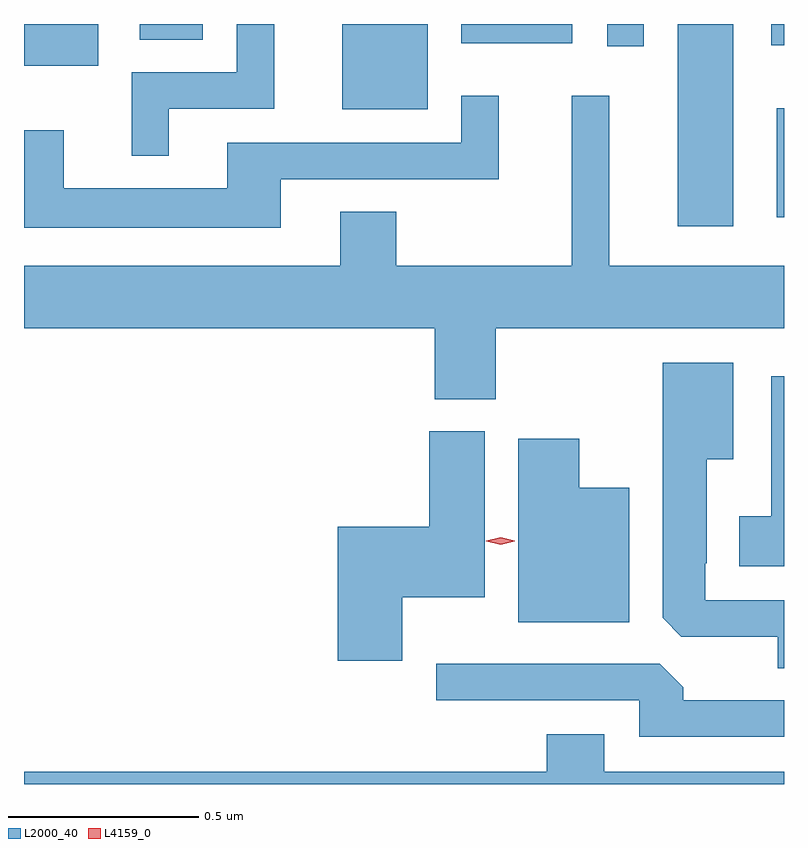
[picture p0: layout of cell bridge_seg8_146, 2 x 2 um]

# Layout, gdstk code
import gdstk
lib = gdstk.Library(unit=1e-6, precision=1e-09)
def R(c, l, rs):  # rectangles x0, y0, x1, y1
    for r in rs: c.add(gdstk.rectangle(r[:2], r[2:], *l))
def P(c, l, *ps):  # polygons
    for p in ps: c.add(gdstk.Polygon(p, *l))
L2000_40 = (2000, 40)
L4159_0 = (4159, 0)

bridge_seg8_146 = lib.new_cell('bridge_seg8_146')
R(bridge_seg8_146, L2000_40, [(521.87,1148.736,522.016,1149.268), (522.131,1148.76,522.15,1149.046), (520.988,1149.044,521.212,1149.268), (520.15,1149.158,520.345,1149.268), (521.685,1149.21,521.781,1149.268), (522.116,1149.212,522.15,1149.268), (521.3,1149.218,521.593,1149.268), (520.454,1149.226,520.621,1149.268)])
P(bridge_seg8_146, L2000_40, [(520.531,1149.045),(520.808,1149.045),(520.808,1149.268),(520.71,1149.268),(520.71,1149.141),(520.433,1149.141),(520.433,1148.921),(520.531,1148.921)],
  [(521.391,1148.468),(522.15,1148.468),(522.15,1148.632),(521.69,1148.632),(521.69,1149.079),(521.591,1149.079),(521.591,1148.632),(521.13,1148.632),(521.13,1148.774),(520.982,1148.774),(520.982,1148.632),(520.15,1148.632),(520.15,1148.468),(521.231,1148.468),(521.231,1148.281),(521.391,1148.281)],
  [(520.825,1148.859),(521.399,1148.859),(521.399,1149.079),(521.301,1149.079),(521.301,1148.955),(520.685,1148.955),(520.685,1148.836),(520.255,1148.836),(520.255,1148.989),(520.15,1148.989),(520.15,1148.732),(520.825,1148.732)],
  [(522.15,1147.752),(521.943,1147.752),(521.943,1147.849),(521.947,1147.849),(521.947,1148.123),(522.016,1148.123),(522.016,1148.377),(521.831,1148.377),(521.831,1147.705),(521.88,1147.656),(522.134,1147.656),(522.134,1147.573),(522.15,1147.573)],
  [(522.15,1148.341),(522.116,1148.341),(522.116,1147.972),(522.032,1147.972),(522.032,1147.841),(522.15,1147.841)],
  [(521.146,1147.76),(521.362,1147.76),(521.362,1148.196),(521.216,1148.196),(521.216,1147.945),(520.976,1147.945),(520.976,1147.593),(521.146,1147.593)],
  [(521.743,1148.047),(521.611,1148.047),(521.611,1148.176),(521.45,1148.176),(521.45,1147.694),(521.743,1147.694)],
  [(522.15,1147.488),(521.885,1147.488),(521.885,1147.522),(521.823,1147.584),(521.235,1147.584),(521.235,1147.488),(521.769,1147.488),(521.769,1147.392),(522.15,1147.392)],
  [(522.15,1147.3),(521.677,1147.3),(521.677,1147.399),(521.525,1147.399),(521.525,1147.3),(520.15,1147.3),(520.15,1147.268),(522.15,1147.268)])
P(bridge_seg8_146, L4159_0, [(521.405,1147.898),(521.367,1147.907),(521.367,1147.907),(521.367,1147.908),(521.405,1147.917),(521.442,1147.908),(521.442,1147.908),(521.442,1147.907)])

lib.write_gds('bridge_seg8_146.gds')
